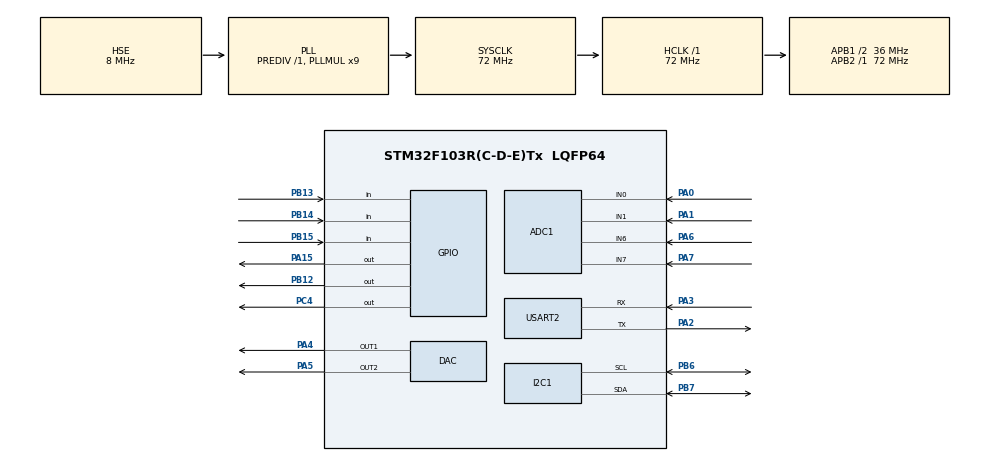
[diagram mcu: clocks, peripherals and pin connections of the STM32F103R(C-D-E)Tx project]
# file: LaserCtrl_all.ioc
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ADC1.Channel-0\#ChannelRegularConversion=ADC_CHANNEL_0
ADC1.Channel-1\#ChannelRegularConversion=ADC_CHANNEL_1
ADC1.Channel-2\#ChannelRegularConversion=ADC_CHANNEL_6
ADC1.Channel-3\#ChannelRegularConversion=ADC_CHANNEL_7
ADC1.NbrOfConversion=4
ADC1.NbrOfConversionFlag=1
ADC1.Rank-0\#ChannelRegularConversion=1
ADC1.Rank-1\#ChannelRegularConversion=2
ADC1.Rank-2\#ChannelRegularConversion=3
ADC1.Rank-3\#ChannelRegularConversion=4
ADC1.SamplingTime-0\#ChannelRegularConversion=ADC_SAMPLETIME_55CYCLES_5
ADC1.SamplingTime-1\#ChannelRegularConversion=ADC_SAMPLETIME_55CYCLES_5
ADC1.SamplingTime-2\#ChannelRegularConversion=ADC_SAMPLETIME_55CYCLES_5
ADC1.SamplingTime-3\#ChannelRegularConversion=ADC_SAMPLETIME_55CYCLES_5
ADC1.master=1
Dma.ADC1.0.Direction=DMA_PERIPH_TO_MEMORY
Dma.ADC1.0.Instance=DMA1_Channel1
Dma.ADC1.0.MemDataAlignment=DMA_MDATAALIGN_HALFWORD
Dma.ADC1.0.MemInc=DMA_MINC_ENABLE
Dma.ADC1.0.Mode=DMA_CIRCULAR
Dma.ADC1.0.PeriphDataAlignment=DMA_PDATAALIGN_HALFWORD
Dma.ADC1.0.PeriphInc=DMA_PINC_DISABLE
Dma.ADC1.0.Priority=DMA_PRIORITY_LOW
Dma.Request0=ADC1
Mcu.Family=STM32F1
Mcu.Name=STM32F103R(C-D-E)Tx
Mcu.Package=LQFP64
NVIC.DMA1_Channel1_IRQn=true\:0\:0\:false\:false\:true\:false\:true\:true
NVIC.PriorityGroup=NVIC_PRIORITYGROUP_4
PA0-WKUP.Signal=ADCx_IN0
PA1.Signal=ADCx_IN1
PA13.Mode=Serial_Wire
PA13.Signal=SYS_JTMS-SWDIO
PA14.Mode=Serial_Wire
PA14.Signal=SYS_JTCK-SWCLK
PA15.GPIO_PuPd=GPIO_PULLDOWN
PA15.Signal=GPIO_Output
PA2.Mode=Asynchronous
PA2.Signal=USART2_TX
PA3.Mode=Asynchronous
PA3.Signal=USART2_RX
PA4.Signal=COMP_DAC1_group
PA5.Signal=COMP_DAC2_group
PA6.Signal=ADCx_IN6
PA7.Signal=ADCx_IN7
PB12.GPIO_PuPd=GPIO_PULLDOWN
PB12.Signal=GPIO_Output
PB13.GPIO_PuPd=GPIO_PULLDOWN
PB13.Signal=GPIO_Input
PB14.GPIO_PuPd=GPIO_PULLDOWN
PB14.Signal=GPIO_Input
PB15.GPIO_PuPd=GPIO_PULLDOWN
PB15.Signal=GPIO_Input
PB6.Mode=I2C
PB6.Signal=I2C1_SCL
PB7.Mode=I2C
PB7.Signal=I2C1_SDA
PC4.GPIO_PuPd=GPIO_PULLDOWN
PC4.Signal=GPIO_Output
PD0-OSC_IN.Mode=HSE-External-Oscillator
PD0-OSC_IN.Signal=RCC_OSC_IN
PD1-OSC_OUT.Mode=HSE-External-Oscillator
PD1-OSC_OUT.Signal=RCC_OSC_OUT
ProjectManager.HeapSize=0x200
ProjectManager.StackSize=0x400
ProjectManager.TargetToolchain=MDK-ARM V5.32
RCC.ADCPresc=RCC_ADCPCLK2_DIV6
RCC.AHBFreq_Value=72000000
RCC.APB1CLKDivider=RCC_HCLK_DIV2
RCC.APB1Freq_Value=36000000
RCC.APB1TimFreq_Value=72000000
RCC.APB2Freq_Value=72000000
RCC.APB2TimFreq_Value=72000000
RCC.HCLKFreq_Value=72000000
RCC.PLLMUL=RCC_PLL_MUL9
RCC.PLLSourceVirtual=RCC_PLLSOURCE_HSE
RCC.SYSCLKFreq_VALUE=72000000
RCC.SYSCLKSource=RCC_SYSCLKSOURCE_PLLCLK
RCC.USBFreq_Value=72000000
SH.ADCx_IN0.0=ADC1_IN0,IN0
SH.ADCx_IN1.0=ADC1_IN1,IN1
SH.ADCx_IN6.0=ADC1_IN6,IN6
SH.ADCx_IN7.0=ADC1_IN7,IN7
SH.COMP_DAC1_group.0=DAC_OUT1,DAC_OUT1
SH.COMP_DAC2_group.0=DAC_OUT2,DAC_OUT2
USART2.VirtualMode=VM_ASYNC
board=custom

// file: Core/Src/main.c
/* USER CODE BEGIN Header */
/**
  ******************************************************************************
  * @file           : main.c
  * @brief          : Main program body
  ******************************************************************************
  * @attention
  *
  * Copyright (c) 2025 STMicroelectronics.
  * All rights reserved.
  *
  * This software is licensed under terms that can be found in the LICENSE file
  * in the root directory of this software component.
  * If no LICENSE file comes with this software, it is provided AS-IS.
  *
  ******************************************************************************
  */
/* USER CODE END Header */
#include "main.h"
#include "adc.h"
#include "dac.h"
#include "dma.h"
#include "i2c.h"
#include "usart.h"
#include "gpio.h"

/* USER CODE BEGIN Includes */
#include "mcp4725.h"
#include <stdio.h>
/* USER CODE END Includes */

/* USER CODE BEGIN PD */
#define TEMP_DEBOUNCE_MS 200 // 防抖动时间
#define CHANNELS 4
// Laser3 ADC转换系数
#define LASER3_VOLTAGE_MIN 2.0f    // 最小输出电压
#define LASER3_VOLTAGE_MAX 3.3f    // 最大输出电压
#define LASER3_ADC_VOLTAGE_MIN 0.0f // PA6最小输入电压
#define LASER3_ADC_VOLTAGE_MAX 3.26f // PA6最大输入电压
#define LASER3_CURRENT_MIN 0.8f    // 最小输出电流
#define LASER3_CURRENT_MAX 10.0f   // 最大输出电流
#define LASER3_ADC_CURRENT_MIN 0.0f // PA7最小输入电压
#define LASER3_ADC_CURRENT_MAX 2.71f // PA7最大输入电压
#define LASER3_SETTLE_DELAY 200    // Laser3电压稳定延迟(ms)
/* USER CODE END PD */

/* USER CODE BEGIN PV */
uint16_t ADC_Value[CHANNELS];

// Laser1 独立参数
uint32_t DAC_Value1 = 0;
float Im_value1, Ic_value1, Input_Vcc1, Output_Vcc1;
uint8_t temp_status_prev1 = 0; // 0:未就绪, 1:已就绪
uint32_t last_temp_check1 = 0;

// Laser2 独立参数
uint32_t DAC_Value2 = 0;
float Im_value2, Ic_value2, Input_Vcc2, Output_Vcc2;
uint8_t temp_status_prev2 = 0;
uint32_t last_temp_check2 = 0;

// Laser3 独立参数
uint16_t DAC_Value3 = 0;
float Im_value3, Ic_value3, Input_Vcc3, Output_Vcc3;
float Output_Current3; // Laser3专用输出电流
uint8_t temp_status_prev3 = 1; // 修改：默认设置为1（温度就绪）
uint32_t last_temp_check3 = 0;

// 全局串口指令（单次接收，统一分配）
uint8_t uart_cmd = 0; // 0表示无指令

// 激光器使能状态
uint8_t laser1_enabled = 0;
uint8_t laser2_enabled = 0;
uint8_t laser3_enabled = 0;
/* USER CODE END PV */

void SystemClock_Config(void);
/* USER CODE BEGIN PFP */
// 优先级检查函数
uint8_t CheckLaser1Priority(void);
uint8_t CheckLaser2Priority(void);
uint8_t CheckLaser3Priority(void);
// 更新激光器使能状态
void UpdateLaserEnableStatus(void);
/* USER CODE END PFP */

/* USER CODE BEGIN 0 */
// 激光3电压转换函数：将PA6的ADC值转换为实际输出电压
float Laser3_ADCtoVoltage(uint16_t adc_value) {
    float adc_voltage = adc_value * 3.3f / 4096.0f;
    // 从ADC电压映射到实际输出电压 (0-3.26V -> 2V-3.3V)
    return LASER3_VOLTAGE_MIN + (adc_voltage - LASER3_ADC_VOLTAGE_MIN) *
           (LASER3_VOLTAGE_MAX - LASER3_VOLTAGE_MIN) /
           (LASER3_ADC_VOLTAGE_MAX - LASER3_ADC_VOLTAGE_MIN);
}

// 激光3电流转换函数：将PA7的ADC值转换为实际输出电流
float Laser3_ADCtoCurrent(uint16_t adc_value) {
    float adc_voltage = adc_value * 3.3f / 4096.0f;
    // 从ADC电压映射到实际输出电流 (0-2.71V -> 0.8-10A)
    return LASER3_CURRENT_MIN + (adc_voltage - LASER3_ADC_CURRENT_MIN) *
           (LASER3_CURRENT_MAX - LASER3_CURRENT_MIN) /
           (LASER3_ADC_CURRENT_MAX - LASER3_ADC_CURRENT_MIN);
}

// 强制ADC进行一次新的转换并获取最新值
void UpdateADCValues(void) {
    // 停止当前DMA转换
    HAL_ADC_Stop_DMA(&hadc1);
    // 清除之前的值
    for(int i = 0; i < CHANNELS; i++) {
        ADC_Value[i] = 0;
    }
    // 启动新的DMA转换
    HAL_ADC_Start_DMA(&hadc1, (uint32_t *)ADC_Value, CHANNELS);
    // 等待转换完成
    HAL_Delay(50);
}

// 检查激光器1优先级（最高优先级，无依赖）
uint8_t CheckLaser1Priority(void) {
    return temp_status_prev1; // 只需要自身温度就绪
}

// 检查激光器2优先级（依赖激光器1）
uint8_t CheckLaser2Priority(void) {
    return (temp_status_prev1 && temp_status_prev2); // 需要激光器1和2都温度就绪
}

// 检查激光器3优先级（依赖激光器1和2）
uint8_t CheckLaser3Priority(void) {
    return (temp_status_prev1 && temp_status_prev2 && temp_status_prev3); // 需要所有激光器温度就绪
}

// 更新激光器使能状态
void UpdateLaserEnableStatus(void) {
    // 更新激光器1使能状态
    laser1_enabled = CheckLaser1Priority();
    HAL_GPIO_WritePin(GPIOB, GPIO_PIN_12, laser1_enabled ? GPIO_PIN_SET : GPIO_PIN_RESET);

    // 更新激光器2使能状态
    laser2_enabled = CheckLaser2Priority();
    HAL_GPIO_WritePin(GPIOA, GPIO_PIN_15, laser2_enabled ? GPIO_PIN_SET : GPIO_PIN_RESET);

    // 更新激光器3使能状态
    laser3_enabled = CheckLaser3Priority();
    HAL_GPIO_WritePin(GPIOC, GPIO_PIN_4, laser3_enabled ? GPIO_PIN_SET : GPIO_PIN_RESET);
}
/* USER CODE END 0 */

int main(void)
{

  /* MCU Configuration--------------------------------------------------------*/

  /* Reset of all peripherals, Initializes the Flash interface and the Systick. */
  HAL_Init();

  /* Configure the system clock */
  SystemClock_Config();

  /* Initialize all configured peripherals */
  MX_GPIO_Init();
  MX_DMA_Init();
  MX_ADC1_Init();
  MX_DAC_Init();
  MX_I2C1_Init();
  MX_USART2_UART_Init();
  /* USER CODE BEGIN 2 */
  printf("欢迎使用MIR LASER激光控制系统，使用说明见手册\r\n");

  // 初始化激光器参数
  // Laser1
  Input_Vcc1 = DAC_Value1 * 3.3f / 4096.0f;
  Ic_value1 = Input_Vcc1 / 2.5f;

  // Laser2
  Input_Vcc2 = DAC_Value2 * 3.3f / 4096.0f;
  Ic_value2 = Input_Vcc2 / 2.5f;

  // Laser3
  Input_Vcc3 = DAC_Value3 * 3.3f / 4096.0f;
  Ic_value3 = Input_Vcc3 * 6.13f;

  // 外设初始化
  HAL_DAC_Start(&hdac, DAC_CHANNEL_1);    // 启动Laser1的DAC通道
  HAL_DAC_Start(&hdac, DAC_CHANNEL_2);    // 启动Laser2的DAC通道
  HAL_ADC_Start_DMA(&hadc1, (uint32_t *)ADC_Value, CHANNELS); // 启动ADC DMA

  // 初始读取一次ADC值
  UpdateADCValues();

  printf("系统初始化完成，等待指令...\r\n");

  MCP4725_SetVoltage(&hi2c1, 0);  //先给DAC3置零
  printf("Laser3 DAC: 已初始化\r\n");

  // 修改：初始化时直接设置激光器3为温度就绪状态
  temp_status_prev3 = 1;
  printf("Laser3: 温度就绪\r\n");

  // 初始更新激光器使能状态
  UpdateLaserEnableStatus();
  /* USER CODE END 2 */

  /* Infinite loop */
  /* USER CODE BEGIN WHILE */
  while (1)
  {
    /************************** 温度检测（并行逻辑，互不干扰） **************************/
    // Laser1 温度检测
    if (HAL_GetTick() - last_temp_check1 >= TEMP_DEBOUNCE_MS)
    {
      last_temp_check1 = HAL_GetTick();
      uint8_t temp_status1 = HAL_GPIO_ReadPin(GPIOB, GPIO_PIN_13);
      if (temp_status1 != temp_status_prev1)
      {
        temp_status_prev1 = temp_status1;
        if (temp_status1)
          printf("Laser1: 温度就绪，已使能\r\n");
        else
          printf("Laser1: 温度未就绪，已禁用\r\n");
        UpdateLaserEnableStatus(); // 更新所有激光器使能状态
      }
    }

    // Laser2 温度检测
    if (HAL_GetTick() - last_temp_check2 >= TEMP_DEBOUNCE_MS)
    {
      last_temp_check2 = HAL_GetTick();
      uint8_t temp_status2 = HAL_GPIO_ReadPin(GPIOB, GPIO_PIN_14);
      if (temp_status2 != temp_status_prev2)
      {
        temp_status_prev2 = temp_status2;
        if (temp_status2)
          printf("Laser2: 温度就绪\r\n");
        else
          printf("Laser2: 温度未就绪\r\n");
        UpdateLaserEnableStatus(); // 更新所有激光器使能状态
      }
    }

    // 修改：跳过Laser3温度检测，直接保持温度就绪状态
    // 原来的温度检测代码已注释掉
    /*
    // Laser3 温度检测
    if (HAL_GetTick() - last_temp_check3 >= TEMP_DEBOUNCE_MS)
    {
      last_temp_check3 = HAL_GetTick();
      uint8_t temp_status3 = HAL_GPIO_ReadPin(GPIOB, GPIO_PIN_15);
      if (temp_status3 != temp_status_prev3)
      {
        temp_status_prev3 = temp_status3;
        if (temp_status3)
          printf("Laser3: 温度就绪\r\n");
        else
          printf("Laser3: 温度未就绪\r\n");
        UpdateLaserEnableStatus(); // 更新所有激光器使能状态
      }
    }
    */

    /************************** 串口接收（单次接收） **************************/
    HAL_StatusTypeDef uart_status = HAL_UART_Receive(&huart2, &uart_cmd, 1, 100);
    // 仅在接收到有效数据时处理指令（HAL_OK表示成功接收1字节）
    if (uart_status != HAL_OK)
    {
      uart_cmd = 0; // 超时或错误时清空指令，避免重复执行
      continue;
    }

    /************************** 指令分配与处理（独立逻辑） **************************/
    // 1. 处理Laser1（指令0-3）
    if (uart_cmd >= '0' && uart_cmd <= '3')
    {
      if (!CheckLaser1Priority())
      {
        printf("错误：Laser1温度未就绪，无法执行指令\r\n");
        uart_cmd = 0;
        continue;
      }

      // 根据指令更新DAC_Value1
      switch(uart_cmd)
      {
        case '0': // 减小31（大步）
          DAC_Value1 = (DAC_Value1 >= 31) ? (DAC_Value1 - 31) : 0;
          break;
        case '1': // 增大31（大步）
          DAC_Value1 = (DAC_Value1 <= 3103) ? (DAC_Value1 + 31) : 3103;
          break;
        case '2': // 减小3（小步）
          DAC_Value1 = (DAC_Value1 >= 3) ? (DAC_Value1 - 3) : 0;
          break;
        case '3': // 增大3（小步）
          DAC_Value1 = (DAC_Value1 <= 3103) ? (DAC_Value1 + 3) : 3103;
          break;
      }

      // 设置DAC值
      HAL_DAC_SetValue(&hdac, DAC_CHANNEL_1, DAC_ALIGN_12B_R, DAC_Value1);

      // 等待稳定并更新ADC
      HAL_Delay(100);
      UpdateADCValues();

      // 计算参数
      Input_Vcc1 = DAC_Value1 * 3.3f / 4096.0f;
      Ic_value1 = Input_Vcc1 / 2.5f;
      Im_value1 = ADC_Value[0] * 3.3f / 4096.0f / 2.5f;
      Output_Vcc1 = ADC_Value[0] * 3.3f / 4096.0f;

      // 打印信息
      printf("Laser1: DAC=%d, 输入电流=%.3fA, 输入电压=%.3fV, 输出电流=%.3fA, 输出电压=%.3fV\r\n",
             DAC_Value1, Ic_value1, Input_Vcc1, Im_value1, Output_Vcc1);
    }

    // 2. 处理Laser2（指令4-7）
    else if (uart_cmd >= '4' && uart_cmd <= '7')
    {
      if (!CheckLaser2Priority())
      {
        if (!temp_status_prev1)
          printf("错误：Laser1未就绪，无法控制Laser2\r\n");
        else if (!temp_status_prev2)
          printf("错误：Laser2温度未就绪，无法执行指令\r\n");
        uart_cmd = 0;
        continue;
      }

      // 根据指令更新DAC_Value2
      switch(uart_cmd)
      {
        case '4': // 增大31（大步）
          DAC_Value2 = (DAC_Value2 <= 3103) ? (DAC_Value2 + 31) : 3103;
          break;
        case '5': // 减小31（大步）
          DAC_Value2 = (DAC_Value2 >= 31) ? (DAC_Value2 - 31) : 0;
          break;
        case '6': // 增大3（小步）
          DAC_Value2 = (DAC_Value2 <= 3103) ? (DAC_Value2 + 3) : 3103;
          break;
        case '7': // 减小3（小步）
          DAC_Value2 = (DAC_Value2 >= 3) ? (DAC_Value2 - 3) : 0;
          break;
      }

      // 设置DAC值
      HAL_DAC_SetValue(&hdac, DAC_CHANNEL_2, DAC_ALIGN_12B_R, DAC_Value2);

      // 等待稳定并更新ADC
      HAL_Delay(100);
      UpdateADCValues();

      // 计算参数
      Input_Vcc2 = DAC_Value2 * 3.3f / 4096.0f;
      Ic_value2 = Input_Vcc2 / 2.5f;
      Im_value2 = ADC_Value[1] * 3.3f / 4096.0f / 2.5f;
      Output_Vcc2 = ADC_Value[1] * 3.3f / 4096.0f;

      // 打印信息
      printf("Laser2: DAC=%d, 输入电流=%.3fA, 输入电压=%.3fV, 输出电流=%.3fA, 输出电压=%.3fV\r\n",
             DAC_Value2, Ic_value2, Input_Vcc2, Im_value2, Output_Vcc2);
    }

    // 3. 处理Laser3（指令8-9）- 核心修改部分
    else if (uart_cmd >= '8' && uart_cmd <= '9')
    {
      if (!CheckLaser3Priority())
      {
        if (!temp_status_prev1)
          printf("错误：Laser1未就绪，无法控制Laser3\r\n");
        else if (!temp_status_prev2)
          printf("错误：Laser2未就绪，无法控制Laser3\r\n");
        // 修改：移除激光器3温度未就绪的错误提示，因为现在总是就绪
        uart_cmd = 0;
        continue;
      }

      // 1. 首先根据指令更新DAC值
      switch(uart_cmd)
      {
        case '8': // 增大20
          DAC_Value3 = (DAC_Value3 <= 1861) ? (DAC_Value3 + 20) : 1861;
          break;
        case '9': // 减小20
          DAC_Value3 = (DAC_Value3 >= 20) ? (DAC_Value3 - 20) : 0;
          break;
      }

      // 2. 应用DAC设置到硬件（先设置）
      MCP4725_SetVoltage(&hi2c1, DAC_Value3);

     // 3. 等待电压稳定（延长延迟确保稳定）
     HAL_Delay(LASER3_SETTLE_DELAY);

      // 4. 强制更新ADC值，确保获取最新的测量数据
      UpdateADCValues();

      // 5. 最后计算并显示参数（后显示）
      Input_Vcc3 = DAC_Value3 * 3.3f / 4096.0f;
      Ic_value3 = Input_Vcc3 * 6.13f;

      // 读取ADC数据（PA6:电压, PA7:电流）
      Output_Vcc3 = Laser3_ADCtoVoltage(ADC_Value[2]);  // PA6对应ADC_Value[2]
      Output_Current3 = Laser3_ADCtoCurrent(ADC_Value[3]); // PA7对应ADC_Value[3]

      // 打印信息
      printf("Laser3: DAC=%d, 输入电流=%.3fA, 输入电压=%.3fV, 输出电流=%.3fA, 输出电压=%.3fV\r\n",
             DAC_Value3, Ic_value3+0.8, Input_Vcc3, Output_Current3, Output_Vcc3);
    }

    // 无效指令处理
    else
    {
      printf("错误：无效指令（仅支持0-9）\r\n");
    }

    uart_cmd = 0; // 指令处理完成后清空，确保单次执行
    /* USER CODE END WHILE */

  }
}

void SystemClock_Config(void)
{
  RCC_OscInitTypeDef RCC_OscInitStruct = {0};
  RCC_ClkInitTypeDef RCC_ClkInitStruct = {0};
  RCC_PeriphCLKInitTypeDef PeriphClkInit = {0};

  /** Initializes the RCC Oscillators according to the specified parameters
  * in the RCC_OscInitTypeDef structure.
  */
  RCC_OscInitStruct.OscillatorType = RCC_OSCILLATORTYPE_HSE;
  RCC_OscInitStruct.HSEState = RCC_HSE_ON;
  RCC_OscInitStruct.HSEPredivValue = RCC_HSE_PREDIV_DIV1;
  RCC_OscInitStruct.HSIState = RCC_HSI_ON;
  RCC_OscInitStruct.PLL.PLLState = RCC_PLL_ON;
  RCC_OscInitStruct.PLL.PLLSource = RCC_PLLSOURCE_HSE;
  RCC_OscInitStruct.PLL.PLLMUL = RCC_PLL_MUL9;
  if (HAL_RCC_OscConfig(&RCC_OscInitStruct) != HAL_OK)
  {
    Error_Handler();
  }

  /** Initializes the CPU, AHB and APB buses clocks
  */
  RCC_ClkInitStruct.ClockType = RCC_CLOCKTYPE_HCLK|RCC_CLOCKTYPE_SYSCLK
                              |RCC_CLOCKTYPE_PCLK1|RCC_CLOCKTYPE_PCLK2;
  RCC_ClkInitStruct.SYSCLKSource = RCC_SYSCLKSOURCE_PLLCLK;
  RCC_ClkInitStruct.AHBCLKDivider = RCC_SYSCLK_DIV1;
  RCC_ClkInitStruct.APB1CLKDivider = RCC_HCLK_DIV2;
  RCC_ClkInitStruct.APB2CLKDivider = RCC_HCLK_DIV1;

  if (HAL_RCC_ClockConfig(&RCC_ClkInitStruct, FLASH_LATENCY_2) != HAL_OK)
  {
    Error_Handler();
  }
  PeriphClkInit.PeriphClockSelection = RCC_PERIPHCLK_ADC;
  PeriphClkInit.AdcClockSelection = RCC_ADCPCLK2_DIV6;
  if (HAL_RCCEx_PeriphCLKConfig(&PeriphClkInit) != HAL_OK)
  {
    Error_Handler();
  }
}

/* USER CODE BEGIN 4 */
void HAL_ADC_ConvCpltCallback(ADC_HandleTypeDef* hadc)
{
  if (hadc->Instance == ADC1)
  {
    // 打印ADC原始数据，便于调试
    printf("ADC原始数据：CH0(Laser1)=%d, CH1(Laser2)=%d, CH2(Laser3电压)=%d, CH3(Laser3电流)=%d\r\n",
           ADC_Value[0], ADC_Value[1], ADC_Value[2], ADC_Value[3]);
  }
}

/* USER CODE END 4 */

void Error_Handler(void)
{
  __disable_irq();
  while (1)
  {
  }
}
